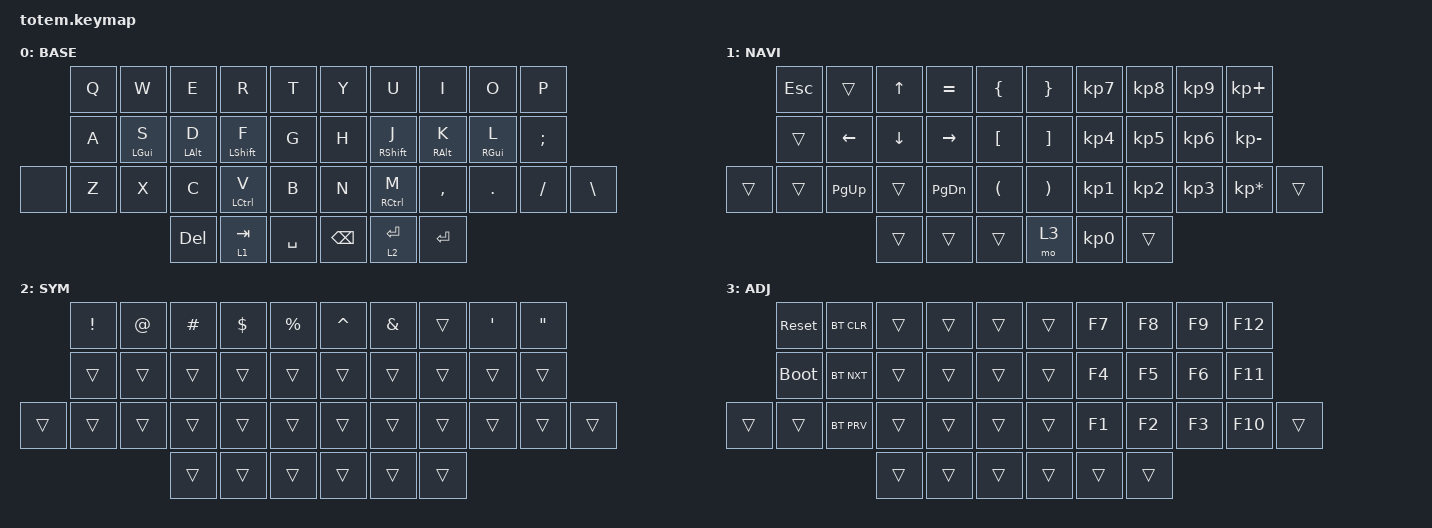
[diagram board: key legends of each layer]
//
//                                                        ▀▀▀▀▀     ▀▀▀▀▀          ▀▀█▀▀
//                                                        ▄▀▀▀▄  ▄  ▄▀▀▀▄  ▄  ▄▀▀▀▄  █  ▄▀▀▀▄
//                                                        █   █  █  █   █  █  █   █  █  █   █
//                                                         ▀▀▀   █   ▀▀▀   █   ▀▀▀   ▀   ▀▀▀
//                                                               █      ▄▄▄█▄▄▄    █   █  
//                                                               ▀      █  █  █     █▄█
//                                                             ▀▀▀▀▀    █  █  █      ▀
//                                                                      ▀  ▀  ▀
//
// ▄▄▄▄▄▄▄▄▄▄▄▄▄▄▄▄▄▄▄▄▄▄▄▄▄▄▄▄▄▄▄▄▄▄▄▄▄▄▄▄▄▄▄▄▄▄▄▄▄▄▄▄▄▄▄▄▄▄▄▄▄▄▄▄▄▄▄▄▄▄▄▄▄▄▄▄▄▄▄▄▄▄▄▄▄▄▄▄▄▄▄▄▄▄▄▄▄▄▄▄▄▄▄▄▄▄▄▄▄▄▄▄▄▄▄▄▄▄▄▄▄▄▄▄▄▄▄▄▄▄▄▄▄▄▄▄▄▄▄▄▄▄▄▄▄▄▄▄▄

#include <behaviors.dtsi>
#include <dt-bindings/zmk/bt.h>
#include <dt-bindings/zmk/keys.h>

#define BASE 0
#define NAV  1
#define SYM  2
#define ADJ  3
#define TVP1 4
#define TVP2 5

&mt {
    quick-tap-ms = <100>;
    global-quick-tap;
    flavor = "tap-preferred";
    tapping-term-ms = <170>;
};

/ {
    combos { compatible = "zmk,combos"; };

    macros {
        term: term {
            compatible = "zmk,behavior-macro";
            #binding-cells = <0>;
            bindings = <&kp LG(X) &kp I>;
            label = "TERM";
        };
    };

    keymap {
        compatible = "zmk,keymap";

        // ▄▄▄▄▄▄▄▄▄▄▄▄▄▄▄▄▄▄▄▄▄▄▄▄▄▄▄▄▄▄▄▄▄▄▄▄▄▄▄▄▄▄▄▄▄▄▄▄▄▄▄▄▄▄▄▄▄▄▄▄▄▄▄▄▄▄▄▄▄▄▄▄▄▄▄▄▄▄▄▄▄▄▄▄▄▄▄▄▄▄▄▄▄▄▄▄▄▄▄▄▄▄▄▄▄▄▄▄▄▄▄▄▄▄▄▄▄▄▄▄▄▄▄▄▄▄▄▄▄▄▄▄▄▄▄▄▄▄▄▄▄▄▄▄▄▄▄▄▄

        base_layer {
            // ┏━━━━━━━━━━━━━━━━━━━━━━━━━━━━━━━━━━━━━━━┓

            label = "BASE";

            // ┗━━━━━━━━━━━━━━━━━━━━━━━━━━━━━━━━━━━━━━━┛
            //             ┏━━━━━━━━━━━┳━━━━━━━━━━━┳━━━━━━━━━━━┳━━━━━━━━━━━┳━━━━━━━━━━━┓   ┏━━━━━━━━━━━┳━━━━━━━━━━━┳━━━━━━━━━━━┳━━━━━━━━━━━┳━━━━━━━━━━━┓
            //             ┃     Q     ┃     W     ┃     F     ┃     P     ┃     G     ┃   ┃     J     ┃     L     ┃     U     ┃     Y     ┃     ;     ┃
            //             ┣━━━━━━━━━━━╋━━━━━━━━━━━╋━━━━━━━━━━━╋━━━━━━━━━━━╋━━━━━━━━━━━┫   ┣━━━━━━━━━━━╋━━━━━━━━━━━╋━━━━━━━━━━━╋━━━━━━━━━━━╋━━━━━━━━━━━┫
            //             ┃     A     ┃     R     ┃     S     ┃     T     ┃     D     ┃   ┃     H     ┃     N     ┃     E     ┃     I     ┃     O     ┃
            // ┏━━━━━━━━━━━╋━━━━━━━━━━━╋━━━━━━━━━━━╋━━━━━━━━━━━╋━━━━━━━━━━━╋━━━━━━━━━━━┫   ┣━━━━━━━━━━━╋━━━━━━━━━━━╋━━━━━━━━━━━╋━━━━━━━━━━━╋━━━━━━━━━━━╋━━━━━━━━━━━┓
            // ┃     Q     ┃     Z     ┃     X     ┃     C     ┃     V     ┃     B     ┃   ┃     K     ┃     M     ┃     ,     ┃     .     ┃     /     ┃     \     ┃
            // ┗━━━━━━━━━━━┻━━━━━━━━━━━┻━━━━━━━━━━━╋━━━━━━━━━━━╋━━━━━━━━━━━╋━━━━━━━━━━━┫   ┣━━━━━━━━━━━╋━━━━━━━━━━━╋━━━━━━━━━━━╋━━━━━━━━━━━┻━━━━━━━━━━━┻━━━━━━━━━━━┛
            //                                     ┃    DEL    ┃    TAB    ┃    SPC    ┃   ┃   ENTER   ┃           ┃   BSPC    ┃
            //                                     ┗━━━━━━━━━━━┻━━━━━━━━━━━┻━━━━━━━━━━━┛   ┗━━━━━━━━━━━┻━━━━━━━━━━━┻━━━━━━━━━━━┛

            bindings = <
       &kp Q  &kp W           &kp E           &kp R        &kp T        &kp Y          &kp U        &kp I            &kp O            &kp P
       &kp A  &mt LEFT_GUI S  &mt LEFT_ALT D  &mt LSHFT F  &kp G        &kp H          &mt RSHFT J  &mt RIGHT_ALT K  &mt RIGHT_GUI L  &kp SEMICOLON
&none  &kp Z  &kp X           &kp C           &mt LCTRL V  &kp B        &kp N          &mt RCTRL M  &kp COMMA        &kp DOT          &kp FSLH       &kp BSLH
                              &kp DEL         &lt 1 TAB    &kp SPACE    &kp BACKSPACE  &lt 2 ENTER  &kp ENTER
            >;
        };

        // ▄▄▄▄▄▄▄▄▄▄▄▄▄▄▄▄▄▄▄▄▄▄▄▄▄▄▄▄▄▄▄▄▄▄▄▄▄▄▄▄▄▄▄▄▄▄▄▄▄▄▄▄▄▄▄▄▄▄▄▄▄▄▄▄▄▄▄▄▄▄▄▄▄▄▄▄▄▄▄▄▄▄▄▄▄▄▄▄▄▄▄▄▄▄▄▄▄▄▄▄▄▄▄▄▄▄▄▄▄▄▄▄▄▄▄▄▄▄▄▄▄▄▄▄▄▄▄▄▄▄▄▄▄▄▄▄▄▄▄▄▄▄▄▄▄▄▄▄▄

        nav_layer {
            // ┏━━━━━━━━━━━━━━━━━━━━━━━━━━━━━━━━━━━━━━━┓

            label = "NAVI";

            // ┗━━━━━━━━━━━━━━━━━━━━━━━━━━━━━━━━━━━━━━━┛
            //             ┏━━━━━━━━━━━┳━━━━━━━━━━━┳━━━━━━━━━━━┳━━━━━━━━━━━┳━━━━━━━━━━━┓   ┏━━━━━━━━━━━┳━━━━━━━━━━━┳━━━━━━━━━━━┳━━━━━━━━━━━┳━━━━━━━━━━━┓
            //             ┃           ┃           ┃     UP    ┃           ┃     {     ┃   ┃     }     ┃     7     ┃     8     ┃     9     ┃     +     ┃
            //             ┣━━━━━━━━━━━╋━━━━━━━━━━━╋━━━━━━━━━━━╋━━━━━━━━━━━╋━━━━━━━━━━━┫   ┣━━━━━━━━━━━╋━━━━━━━━━━━╋━━━━━━━━━━━╋━━━━━━━━━━━╋━━━━━━━━━━━┫
            //             ┃   SHIFT   ┃   LEFT    ┃    DOWN   ┃   RIGHT   ┃     [     ┃   ┃     ]     ┃     4     ┃     5     ┃     6     ┃     -     ┃
            // ┏━━━━━━━━━━━╋━━━━━━━━━━━╋━━━━━━━━━━━╋━━━━━━━━━━━╋━━━━━━━━━━━╋━━━━━━━━━━━┫   ┣━━━━━━━━━━━╋━━━━━━━━━━━╋━━━━━━━━━━━╋━━━━━━━━━━━╋━━━━━━━━━━━╋━━━━━━━━━━━┓
            // ┃           ┃           ┃   P UP    ┃  C LOCK   ┃  P DOWN   ┃     (     ┃   ┃     )     ┃     1     ┃     2     ┃     3     ┃     *     ┃           ┃
            // ┗━━━━━━━━━━━┻━━━━━━━━━━━┻━━━━━━━━━━━╋━━━━━━━━━━━╋━━━━━━━━━━━╋━━━━━━━━━━━┫   ┣━━━━━━━━━━━╋━━━━━━━━━━━╋━━━━━━━━━━━╋━━━━━━━━━━━┻━━━━━━━━━━━┻━━━━━━━━━━━┛
            //                                     ┃           ┃    TAB    ┃    SPC    ┃   ┃    DEL    ┃     0     ┃           ┃
            //                                     ┗━━━━━━━━━━━┻━━━━━━━━━━━┻━━━━━━━━━━━┛   ┗━━━━━━━━━━━┻━━━━━━━━━━━┻━━━━━━━━━━━┛

            bindings = <
        &kp ESC  &trans     &kp UP    &kp EQUAL  &kp LBRC    &kp RBRC  &kp KP_N7  &kp KP_N8  &kp KP_N9  &kp KP_PLUS
        &trans   &kp LEFT   &kp DOWN  &kp RIGHT  &kp LBKT    &kp RBKT  &kp KP_N4  &kp KP_N5  &kp KP_N6  &kp KP_MINUS
&trans  &trans   &kp PG_UP  &trans    &kp PG_DN  &kp LPAR    &kp RPAR  &kp KP_N1  &kp KP_N2  &kp KP_N3  &kp KP_MULTIPLY  &trans
                            &trans    &trans     &trans      &mo 3     &kp KP_N0  &trans
            >;
        };

        // ▄▄▄▄▄▄▄▄▄▄▄▄▄▄▄▄▄▄▄▄▄▄▄▄▄▄▄▄▄▄▄▄▄▄▄▄▄▄▄▄▄▄▄▄▄▄▄▄▄▄▄▄▄▄▄▄▄▄▄▄▄▄▄▄▄▄▄▄▄▄▄▄▄▄▄▄▄▄▄▄▄▄▄▄▄▄▄▄▄▄▄▄▄▄▄▄▄▄▄▄▄▄▄▄▄▄▄▄▄▄▄▄▄▄▄▄▄▄▄▄▄▄▄▄▄▄▄▄▄▄▄▄▄▄▄▄▄▄▄▄▄▄▄▄▄▄▄▄▄

        sim_layer {
            // ┏━━━━━━━━━━━━━━━━━━━━━━━━━━━━━━━━━━━━━━━┓

            label = "SYM";

            // ┗━━━━━━━━━━━━━━━━━━━━━━━━━━━━━━━━━━━━━━━┛
            //             ┏━━━━━━━━━━━┳━━━━━━━━━━━┳━━━━━━━━━━━┳━━━━━━━━━━━┳━━━━━━━━━━━┓   ┏━━━━━━━━━━━┳━━━━━━━━━━━┳━━━━━━━━━━━┳━━━━━━━━━━━┳━━━━━━━━━━━┓
            //             ┃     !     ┃     @     ┃     #     ┃     $     ┃     %     ┃   ┃     ˆ     ┃     &     ┃     Ü     ┃     '     ┃     "     ┃
            //             ┣━━━━━━━━━━━╋━━━━━━━━━━━╋━━━━━━━━━━━╋━━━━━━━━━━━╋━━━━━━━━━━━┫   ┣━━━━━━━━━━━╋━━━━━━━━━━━╋━━━━━━━━━━━╋━━━━━━━━━━━╋━━━━━━━━━━━┫
            //             ┃     Ä     ┃           ┃    SZ     ┃           ┃           ┃   ┃   MUTE    ┃   YEN     ┃   EURO    ┃  POUND    ┃     Ö     ┃
            // ┏━━━━━━━━━━━╋━━━━━━━━━━━╋━━━━━━━━━━━╋━━━━━━━━━━━╋━━━━━━━━━━━╋━━━━━━━━━━━┫   ┣━━━━━━━━━━━╋━━━━━━━━━━━╋━━━━━━━━━━━╋━━━━━━━━━━━╋━━━━━━━━━━━╋━━━━━━━━━━━┓
            // ┃           ┃  EMAIL1   ┃  EMAIL2   ┃           ┃           ┃           ┃   ┃   VOL-    ┃   VOL+    ┃   LAST    ┃   NEXT    ┃     \     ┃           ┃
            // ┗━━━━━━━━━━━┻━━━━━━━━━━━┻━━━━━━━━━━━╋━━━━━━━━━━━╋━━━━━━━━━━━╋━━━━━━━━━━━┫   ┣━━━━━━━━━━━╋━━━━━━━━━━━╋━━━━━━━━━━━╋━━━━━━━━━━━┻━━━━━━━━━━━┻━━━━━━━━━━━┛
            //                                     ┃           ┃    GIF    ┃    ADJ    ┃   ┃           ┃           ┃           ┃
            //                                     ┗━━━━━━━━━━━┻━━━━━━━━━━━┻━━━━━━━━━━━┛   ┗━━━━━━━━━━━┻━━━━━━━━━━━┻━━━━━━━━━━━┛

            bindings = <
        &kp EXCL  &kp AT  &kp HASH  &kp DLLR  &kp PRCNT    &kp CARET  &kp AMPS  &trans  &kp SQT  &kp DQT
        &trans    &trans  &trans    &trans    &trans       &trans     &trans    &trans  &trans   &trans
&trans  &trans    &trans  &trans    &trans    &trans       &trans     &trans    &trans  &trans   &trans   &trans
                          &trans    &trans    &trans       &trans     &trans    &trans
            >;
        };

        // ▄▄▄▄▄▄▄▄▄▄▄▄▄▄▄▄▄▄▄▄▄▄▄▄▄▄▄▄▄▄▄▄▄▄▄▄▄▄▄▄▄▄▄▄▄▄▄▄▄▄▄▄▄▄▄▄▄▄▄▄▄▄▄▄▄▄▄▄▄▄▄▄▄▄▄▄▄▄▄▄▄▄▄▄▄▄▄▄▄▄▄▄▄▄▄▄▄▄▄▄▄▄▄▄▄▄▄▄▄▄▄▄▄▄▄▄▄▄▄▄▄▄▄▄▄▄▄▄▄▄▄▄▄▄▄▄▄▄▄▄▄▄▄▄▄▄▄▄▄

        adjust_layer {
            // ┏━━━━━━━━━━━━━━━━━━━━━━━━━━━━━━━━━━━━━━━┓

            label = "ADJ";

            // ┗━━━━━━━━━━━━━━━━━━━━━━━━━━━━━━━━━━━━━━━┛
            //             ┏━━━━━━━━━━━┳━━━━━━━━━━━┳━━━━━━━━━━━┳━━━━━━━━━━━┳━━━━━━━━━━━┓   ┏━━━━━━━━━━━┳━━━━━━━━━━━┳━━━━━━━━━━━┳━━━━━━━━━━━┳━━━━━━━━━━━┓
            //             ┃   RESET   ┃ BT CLEAR  ┃  OUT TOG  ┃           ┃           ┃   ┃           ┃    F7     ┃    F8     ┃    F9     ┃    F12    ┃
            //             ┣━━━━━━━━━━━╋━━━━━━━━━━━╋━━━━━━━━━━━╋━━━━━━━━━━━╋━━━━━━━━━━━┫   ┣━━━━━━━━━━━╋━━━━━━━━━━━╋━━━━━━━━━━━╋━━━━━━━━━━━╋━━━━━━━━━━━┫
            //             ┃ BOOTLOAD  ┃ BT NEXT   ┃           ┃           ┃           ┃   ┃           ┃    F4     ┃    F5     ┃    F6     ┃    F11    ┃
            // ┏━━━━━━━━━━━╋━━━━━━━━━━━╋━━━━━━━━━━━╋━━━━━━━━━━━╋━━━━━━━━━━━╋━━━━━━━━━━━┫   ┣━━━━━━━━━━━╋━━━━━━━━━━━╋━━━━━━━━━━━╋━━━━━━━━━━━╋━━━━━━━━━━━╋━━━━━━━━━━━┓
            // ┃           ┃           ┃ BT PREV   ┃           ┃           ┃           ┃   ┃           ┃    F1     ┃    F2     ┃    F3     ┃    F10    ┃           ┃
            // ┗━━━━━━━━━━━┻━━━━━━━━━━━┻━━━━━━━━━━━╋━━━━━━━━━━━╋━━━━━━━━━━━╋━━━━━━━━━━━┫   ┣━━━━━━━━━━━╋━━━━━━━━━━━╋━━━━━━━━━━━╋━━━━━━━━━━━┻━━━━━━━━━━━┻━━━━━━━━━━━┛
            //                                     ┃           ┃           ┃           ┃   ┃           ┃           ┃           ┃
            //                                     ┗━━━━━━━━━━━┻━━━━━━━━━━━┻━━━━━━━━━━━┛   ┗━━━━━━━━━━━┻━━━━━━━━━━━┻━━━━━━━━━━━┛

            bindings = <
        &sys_reset   &bt BT_CLR  &trans  &trans  &trans    &trans  &kp F7  &kp F8  &kp F9  &kp F12
        &bootloader  &bt BT_NXT  &trans  &trans  &trans    &trans  &kp F4  &kp F5  &kp F6  &kp F11
&trans  &trans       &bt BT_PRV  &trans  &trans  &trans    &trans  &kp F1  &kp F2  &kp F3  &kp F10  &trans
                                 &trans  &trans  &trans    &trans  &trans  &trans
            >;
        };

        // ▄▄▄▄▄▄▄▄▄▄▄▄▄▄▄▄▄▄▄▄▄▄▄▄▄▄▄▄▄▄▄▄▄▄▄▄▄▄▄▄▄▄▄▄▄▄▄▄▄▄▄▄▄▄▄▄▄▄▄▄▄▄▄▄▄▄▄▄▄▄▄▄▄▄▄▄▄▄▄▄▄▄▄▄▄▄▄▄▄▄▄▄▄▄▄▄▄▄▄▄▄▄▄▄▄▄▄▄▄▄▄▄▄▄▄▄▄▄▄▄▄▄▄▄▄▄▄▄▄▄▄▄▄▄▄▄▄▄▄▄▄▄▄▄▄▄▄▄▄
        // ▄▄▄▄▄▄▄▄▄▄▄▄▄▄▄▄▄▄▄▄▄▄▄▄▄▄▄▄▄▄▄▄▄▄▄▄▄▄▄▄▄▄▄▄▄▄▄▄▄▄▄▄▄▄▄▄▄▄▄▄▄▄▄▄▄▄▄▄▄▄▄▄▄▄▄▄▄▄▄▄▄▄▄▄▄▄▄▄▄▄▄▄▄▄▄▄▄▄▄▄▄▄▄▄▄▄▄▄▄▄▄▄▄▄▄▄▄▄▄▄▄▄▄▄▄▄▄▄▄▄▄▄▄▄▄▄▄▄▄▄▄▄▄▄▄▄▄▄▄
    };
};
